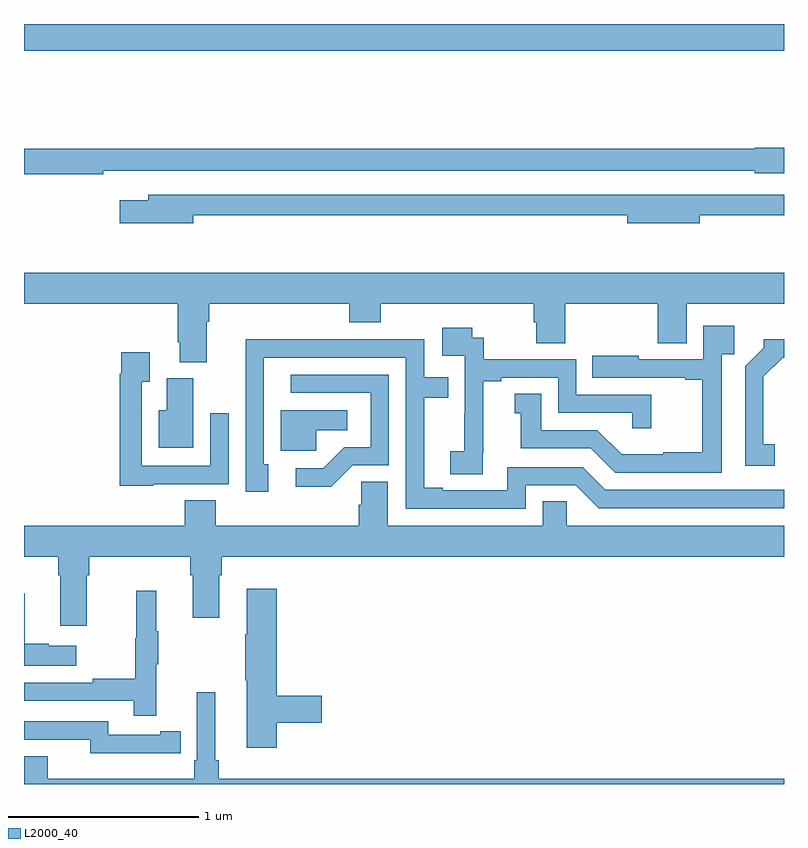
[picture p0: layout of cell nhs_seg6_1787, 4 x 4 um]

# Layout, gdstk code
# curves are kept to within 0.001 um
import gdstk
lib = gdstk.Library(unit=1e-6, precision=1e-09)
def R(c, l, rs):  # rectangles x0, y0, x1, y1
    for r in rs: c.add(gdstk.rectangle(r[:2], r[2:], *l))
def P(c, l, *ps):  # polygons
    for p in ps: c.add(gdstk.Polygon(p, *l))
L2000_40 = (2000, 40)

nhs_seg6_1787 = lib.new_cell('nhs_seg6_1787')
R(nhs_seg6_1787, L2000_40, [(219,923.36,223,923.5)])
P(nhs_seg6_1787, L2000_40, [(219.416,922.728),(222.846,922.728),(222.846,922.715),(223,922.715),(223,922.85),(222.846,922.85),(222.846,922.844),(219,922.844),(219,922.708),(219.416,922.708)],
  [(219.892,922.494),(222.176,922.494),(222.176,922.451),(222.556,922.451),(222.556,922.494),(223,922.494),(223,922.602),(219.653,922.602),(219.653,922.573),(219.504,922.573),(219.504,922.451),(219.892,922.451)],
  [(219.961,921.932),(219.974,921.932),(219.974,922.028),(220.712,922.028),(220.712,921.929),(220.877,921.929),(220.877,922.028),(221.684,922.028),(221.684,921.93),(221.696,921.93),(221.696,921.82),(221.849,921.82),(221.849,922.028),(222.335,922.028),(222.335,921.82),(222.487,921.82),(222.487,922.028),(223,922.028),(223,922.192),(219,922.192),(219,922.028),(219.809,922.028),(219.809,921.826),(219.821,921.826),(219.821,921.721),(219.961,921.721)],
  [(222.672,921.761),(222.737,921.761),(222.737,921.913),(222.576,921.913),(222.576,921.735),(222.235,921.735),(222.235,921.754),(221.992,921.754),(221.992,921.639),(222.479,921.639),(222.479,921.627),(222.571,921.627),(222.571,921.247),(222.365,921.247),(222.365,921.235),(222.146,921.235),(222.018,921.363),(221.722,921.363),(221.722,921.554),(221.582,921.554),(221.582,921.451),(221.615,921.451),(221.615,921.267),(221.982,921.267),(222.111,921.138),(222.672,921.138)],
  [(221.414,921.241),(221.416,921.241),(221.416,921.619),(221.512,921.619),(221.512,921.639),(221.811,921.639),(221.811,921.453),(222.201,921.453),(222.201,921.372),(222.302,921.372),(222.302,921.549),(221.907,921.549),(221.907,921.735),(221.42,921.735),(221.42,921.849),(221.358,921.849),(221.358,921.901),(221.202,921.901),(221.202,921.753),(221.319,921.753),(221.319,921.449),(221.318,921.449),(221.318,921.252),(221.244,921.252),(221.244,921.13),(221.414,921.13)],
  [(221.64,921.072),(221.904,921.072),(222.024,920.952),(223,920.952),(223,921.048),(222.06,921.048),(221.94,921.168),(221.544,921.168),(221.544,921.045),(221.203,921.045),(221.203,921.06),(221.107,921.06),(221.107,921.534),(221.234,921.534),(221.234,921.642),(221.106,921.642),(221.106,921.84),(220.628,921.84),(220.628,921.842),(220.166,921.842),(220.167,921.039),(220.285,921.039),(220.285,921.183),(220.263,921.183),(220.263,921.744),(221.01,921.744),(221.01,920.949),(221.64,920.949)],
  [(222.95,921.287),(222.892,921.287),(222.892,921.643),(222.993,921.744),(223,921.744),(223,921.842),(222.894,921.842),(222.894,921.797),(222.795,921.698),(222.795,921.174),(222.95,921.174)],
  [(219.681,921.078),(220.077,921.078),(220.077,921.451),(219.981,921.451),(219.981,921.174),(219.621,921.174),(219.621,921.616),(219.661,921.616),(219.661,921.772),(219.513,921.772),(219.513,921.659),(219.505,921.659),(219.505,921.071),(219.681,921.071)],
  [(220.731,921.177),(220.92,921.177),(220.92,921.654),(220.404,921.654),(220.404,921.558),(220.824,921.558),(220.824,921.273),(220.686,921.273),(220.575,921.162),(220.431,921.162),(220.431,921.065),(220.618,921.065)],
  [(219.892,921.636),(219.752,921.636),(219.752,921.466),(219.71,921.466),(219.71,921.269),(219.892,921.269)],
  [(220.539,921.362),(220.702,921.362),(220.702,921.466),(220.352,921.466),(220.352,921.255),(220.539,921.255)],
  [(219.331,920.6),(219.344,920.6),(219.344,920.696),(219.875,920.696),(219.875,920.6),(219.887,920.6),(219.887,920.376),(220.027,920.376),(220.027,920.6),(220.04,920.6),(220.04,920.696),(223,920.696),(223,920.86),(221.856,920.86),(221.856,920.987),(221.729,920.987),(221.729,920.86),(220.915,920.86),(220.915,921.092),(220.776,921.092),(220.776,920.969),(220.763,920.969),(220.763,920.86),(220.01,920.86),(220.01,920.993),(219.845,920.993),(219.845,920.86),(219,920.86),(219,920.696),(219.179,920.696),(219.179,920.6),(219.191,920.6),(219.191,920.334),(219.331,920.334)],
  [(220.331,919.822),(220.567,919.822),(220.567,919.964),(220.331,919.964),(220.331,920.527),(220.172,920.527),(220.172,920.288),(220.165,920.288),(220.165,920.047),(220.172,920.047),(220.172,919.692),(220.331,919.692)],
  [(219.695,920.131),(219.706,920.131),(219.706,920.305),(219.695,920.305),(219.695,920.518),(219.592,920.518),(219.592,920.268),(219.585,920.268),(219.585,920.054),(219.361,920.054),(219.361,920.034),(219,920.034),(219,919.938),(219.577,919.938),(219.577,919.86),(219.695,919.86)],
  [(219.274,920.227),(219.131,920.227),(219.131,920.237),(219.004,920.237),(219.004,920.503),(219,920.503),(219,920.123),(219.274,920.123)],
  [(219,919.645),(219,919.5),(223,919.5),(223,919.528),(220.025,919.528),(220.025,919.624),(220.006,919.624),(220.006,919.984),(219.909,919.984),(219.909,919.624),(219.896,919.624),(219.896,919.528),(219.124,919.528),(219.124,919.645)],
  [(219.716,919.662),(219.824,919.662),(219.824,919.778),(219.716,919.778),(219.716,919.758),(219.444,919.758),(219.444,919.83),(219,919.83),(219,919.734),(219.348,919.734),(219.348,919.661),(219.716,919.661)])

lib.write_gds('nhs_seg6_1787.gds')
